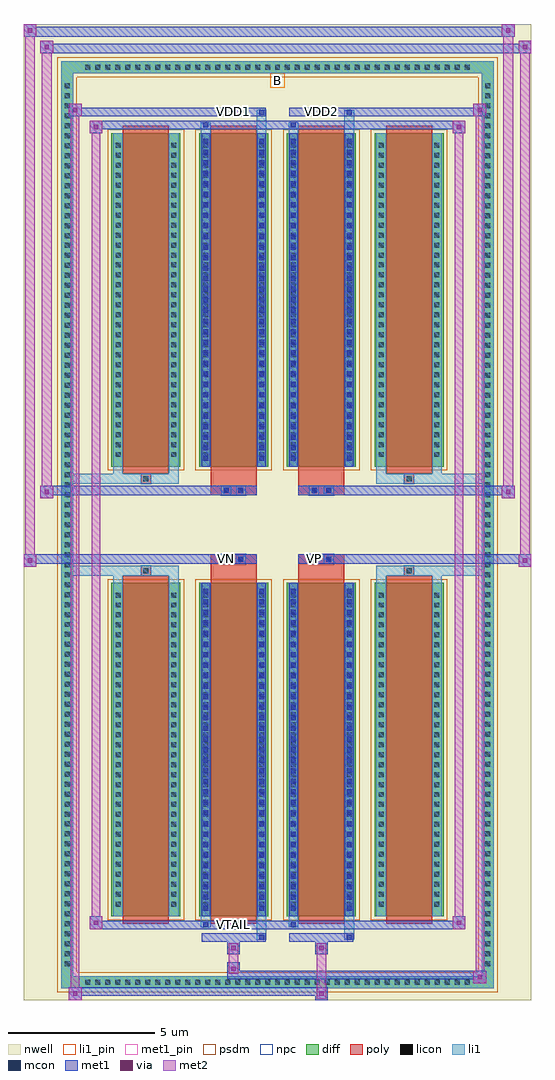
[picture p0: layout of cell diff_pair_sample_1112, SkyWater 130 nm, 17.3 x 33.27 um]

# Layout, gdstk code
import gdstk
lib = gdstk.Library(unit=1e-6, precision=5e-09)
def R(c, l, rs):  # rectangles x0, y0, x1, y1
    for r in rs: c.add(gdstk.rectangle(r[:2], r[2:], *l))
def A(c, l, x, y, w, h, nx, ny, dx, dy):  # array of equal rectangles
    R(c, l, [(x+i*dx, y+j*dy, x+i*dx+w, y+j*dy+h) for i in range(nx) for j in range(ny)])
def P(c, l, *ps):  # polygons
    for p in ps: c.add(gdstk.Polygon(p, *l))
nwell = (64, 20)
diff = (65, 20)
poly = (66, 20)
licon = (66, 44)
li1_pin = (67, 16)
li1 = (67, 20)
mcon = (67, 44)
met1_pin = (68, 16)
met1 = (68, 20)
via = (68, 44)
met2 = (69, 20)
psdm = (94, 20)
npc = (95, 20)

diff_pair_sample_1112 = lib.new_cell('diff_pair_sample_1112')
R(diff_pair_sample_1112, nwell, [(-8.65,-16.2,8.65,17.07), (-5.97,-14.39,-0.01,-0.805), (0.01,-14.39,5.97,-0.805), (-5.97,0.805,-0.01,14.39), (0.01,0.805,5.97,14.39)])
A(diff_pair_sample_1112, diff, -6.665, -15.8, 0.41, 0.41, 39, 2, 0.34, 31.19)
A(diff_pair_sample_1112, diff, -7.38, -15.165, 0.41, 0.41, 1, 89, 0, 0.34)
A(diff_pair_sample_1112, diff, 6.97, -15.165, 0.41, 0.41, 1, 89, 0, 0.34)
A(diff_pair_sample_1112, diff, -5.66, -13.345, 2.35, 11.36, 4, 2, 2.99, 15.33)
R(diff_pair_sample_1112, diff, [(-6.665,-15.8,6.665,-15.39), (-7.38,-15.165,-6.97,15.165), (6.97,-15.165,7.38,15.165), (-6.665,15.39,6.665,15.8)])
P(diff_pair_sample_1112, diff, [(7.38,15.8),(-7.38,15.8),(-7.38,-15.39),(-6.97,-15.39),(-6.97,15.39),(6.97,15.39),(6.97,-15.39),(-6.97,-15.39),(-7.38,-15.39),(-7.38,-15.8),(7.38,-15.8)])
A(diff_pair_sample_1112, poly, -5.27, -13.595, 1.57, 11.86, 4, 2, 2.99, 15.33)
R(diff_pair_sample_1112, poly, [(-4.65,-1.735,-4.32,-1.405), (-4.65,-1.735,-4.32,-1.405), (-2.28,-1.735,-0.71,-1.335), (0.71,-1.735,2.28,-1.335), (4.32,-1.735,4.65,-1.405), (4.32,-1.735,4.65,-1.405), (-2.28,-1.335,-0.71,-1.005), (-1.91,-1.335,-1.58,-1.005), (-1.41,-1.335,-1.08,-1.005), (0.71,-1.335,2.28,-1.005), (1.08,-1.335,1.41,-1.005), (1.58,-1.335,1.91,-1.005), (-2.28,1.005,-0.71,1.335), (-1.91,1.005,-1.58,1.335), (-1.41,1.005,-1.08,1.335), (0.71,1.005,2.28,1.335), (1.08,1.005,1.41,1.335), (1.58,1.005,1.91,1.335), (-2.28,1.335,-0.71,1.735), (0.71,1.335,2.28,1.735), (-4.65,1.405,-4.32,1.735), (-4.65,1.405,-4.32,1.735), (4.32,1.405,4.65,1.735), (4.32,1.405,4.65,1.735)])
A(diff_pair_sample_1112, licon, -6.545, -15.68, 0.17, 0.17, 39, 2, 0.34, 31.19)
A(diff_pair_sample_1112, licon, -7.26, -15.045, 0.17, 0.17, 1, 89, 0, 0.34)
A(diff_pair_sample_1112, licon, 7.09, -15.045, 0.17, 0.17, 1, 89, 0, 0.34)
A(diff_pair_sample_1112, licon, -5.52, -13.02, 0.17, 0.17, 1, 32, 0, 0.34)
A(diff_pair_sample_1112, licon, -3.62, -13.02, 0.17, 0.17, 1, 32, 0, 0.34)
A(diff_pair_sample_1112, licon, -2.53, -13.02, 0.17, 0.17, 1, 32, 0, 0.34)
A(diff_pair_sample_1112, licon, -0.63, -13.02, 0.17, 0.17, 1, 32, 0, 0.34)
A(diff_pair_sample_1112, licon, 0.46, -13.02, 0.17, 0.17, 1, 32, 0, 0.34)
A(diff_pair_sample_1112, licon, 2.36, -13.02, 0.17, 0.17, 1, 32, 0, 0.34)
A(diff_pair_sample_1112, licon, 3.45, -13.02, 0.17, 0.17, 1, 32, 0, 0.34)
A(diff_pair_sample_1112, licon, 5.35, -13.02, 0.17, 0.17, 1, 32, 0, 0.34)
A(diff_pair_sample_1112, licon, -5.52, 2.31, 0.17, 0.17, 1, 32, 0, 0.34)
A(diff_pair_sample_1112, licon, -3.62, 2.31, 0.17, 0.17, 1, 32, 0, 0.34)
A(diff_pair_sample_1112, licon, -2.53, 2.31, 0.17, 0.17, 1, 32, 0, 0.34)
A(diff_pair_sample_1112, licon, -0.63, 2.31, 0.17, 0.17, 1, 32, 0, 0.34)
A(diff_pair_sample_1112, licon, 0.46, 2.31, 0.17, 0.17, 1, 32, 0, 0.34)
A(diff_pair_sample_1112, licon, 2.36, 2.31, 0.17, 0.17, 1, 32, 0, 0.34)
A(diff_pair_sample_1112, licon, 3.45, 2.31, 0.17, 0.17, 1, 32, 0, 0.34)
A(diff_pair_sample_1112, licon, 5.35, 2.31, 0.17, 0.17, 1, 32, 0, 0.34)
R(diff_pair_sample_1112, licon, [(-4.57,-1.655,-4.4,-1.485), (4.4,-1.655,4.57,-1.485), (-1.83,-1.255,-1.66,-1.085), (-1.33,-1.255,-1.16,-1.085), (1.16,-1.255,1.33,-1.085), (1.66,-1.255,1.83,-1.085), (-1.83,1.085,-1.66,1.255), (-1.33,1.085,-1.16,1.255), (1.16,1.085,1.33,1.255), (1.66,1.085,1.83,1.255), (-4.57,1.485,-4.4,1.655), (4.4,1.485,4.57,1.655)])
R(diff_pair_sample_1112, li1_pin, [(-0.25,14.89,0.25,15.39)])
A(diff_pair_sample_1112, li1, -6.625, -15.76, 0.33, 0.33, 39, 2, 0.34, 31.19)
A(diff_pair_sample_1112, li1, -7.34, -15.125, 0.33, 0.33, 1, 89, 0, 0.34)
A(diff_pair_sample_1112, li1, 7.01, -15.125, 0.33, 0.33, 1, 89, 0, 0.34)
A(diff_pair_sample_1112, li1, -2.53, -13.15, 0.17, 0.17, 1, 31, 0, 0.36)
A(diff_pair_sample_1112, li1, -0.63, -13.15, 0.17, 0.17, 1, 31, 0, 0.36)
A(diff_pair_sample_1112, li1, 0.46, -13.15, 0.17, 0.17, 1, 31, 0, 0.36)
A(diff_pair_sample_1112, li1, 2.36, -13.15, 0.17, 0.17, 1, 31, 0, 0.36)
A(diff_pair_sample_1112, li1, -5.6, -13.1, 0.33, 0.33, 1, 32, 0, 0.34)
A(diff_pair_sample_1112, li1, -3.7, -13.1, 0.33, 0.33, 1, 32, 0, 0.34)
A(diff_pair_sample_1112, li1, -2.61, -13.1, 0.33, 0.33, 1, 32, 0, 0.34)
A(diff_pair_sample_1112, li1, -0.71, -13.1, 0.33, 0.33, 1, 32, 0, 0.34)
A(diff_pair_sample_1112, li1, 0.38, -13.1, 0.33, 0.33, 1, 32, 0, 0.34)
A(diff_pair_sample_1112, li1, 2.28, -13.1, 0.33, 0.33, 1, 32, 0, 0.34)
A(diff_pair_sample_1112, li1, 3.37, -13.1, 0.33, 0.33, 1, 32, 0, 0.34)
A(diff_pair_sample_1112, li1, 5.27, -13.1, 0.33, 0.33, 1, 32, 0, 0.34)
A(diff_pair_sample_1112, li1, -2.53, 2.18, 0.17, 0.17, 1, 31, 0, 0.36)
A(diff_pair_sample_1112, li1, -0.63, 2.18, 0.17, 0.17, 1, 31, 0, 0.36)
A(diff_pair_sample_1112, li1, 0.46, 2.18, 0.17, 0.17, 1, 31, 0, 0.36)
A(diff_pair_sample_1112, li1, 2.36, 2.18, 0.17, 0.17, 1, 31, 0, 0.36)
A(diff_pair_sample_1112, li1, -5.6, 2.23, 0.33, 0.33, 1, 32, 0, 0.34)
A(diff_pair_sample_1112, li1, -3.7, 2.23, 0.33, 0.33, 1, 32, 0, 0.34)
A(diff_pair_sample_1112, li1, -2.61, 2.23, 0.33, 0.33, 1, 32, 0, 0.34)
A(diff_pair_sample_1112, li1, -0.71, 2.23, 0.33, 0.33, 1, 32, 0, 0.34)
A(diff_pair_sample_1112, li1, 0.38, 2.23, 0.33, 0.33, 1, 32, 0, 0.34)
A(diff_pair_sample_1112, li1, 2.28, 2.23, 0.33, 0.33, 1, 32, 0, 0.34)
A(diff_pair_sample_1112, li1, 3.37, 2.23, 0.33, 0.33, 1, 32, 0, 0.34)
A(diff_pair_sample_1112, li1, 5.27, 2.23, 0.33, 0.33, 1, 32, 0, 0.34)
R(diff_pair_sample_1112, li1, [(-7.38,-15.8,-6.97,-15.39), (-7.38,-15.8,-6.97,-15.39), (-6.97,-15.8,6.97,-15.39), (6.97,-15.8,7.38,-15.39), (6.97,-15.8,7.38,-15.39), (-7.38,-15.39,-6.97,15.39), (6.97,-15.39,7.38,15.39), (-0.71,-14.15,-0.38,-13.345), (-0.63,-14.15,-0.46,-13.98), (2.28,-14.15,2.61,-13.345), (2.36,-14.15,2.53,-13.98), (-2.61,-13.72,-2.28,-13.345), (-2.53,-13.72,-2.36,-13.55), (0.38,-13.72,0.71,-13.345), (0.46,-13.72,0.63,-13.55), (-5.6,-13.345,-5.27,-1.985), (-3.7,-13.345,-3.37,-1.985), (-2.61,-13.345,-2.28,-1.985), (-0.71,-13.345,-0.38,-1.985), (0.38,-13.345,0.71,-1.985), (2.28,-13.345,2.61,-1.985), (3.37,-13.345,3.7,-1.985), (5.27,-13.345,5.6,-1.985), (-2.53,-13.15,-2.36,-2.18), (-0.63,-13.15,-0.46,-2.18), (0.46,-13.15,0.63,-2.18), (2.36,-13.15,2.53,-2.18), (-5.6,-1.985,-5.27,-1.405), (-3.7,-1.985,-3.37,-1.405), (3.37,-1.985,3.7,-1.405), (5.27,-1.985,5.6,-1.405), (-7.38,-1.735,-4.65,-1.405), (-5.6,-1.735,-4.65,-1.405), (-4.65,-1.735,-4.32,-1.405), (-4.32,-1.735,-3.37,-1.405), (3.37,-1.735,4.32,-1.405), (4.32,-1.735,4.65,-1.405), (4.32,-1.735,7.38,-1.405), (4.65,-1.735,5.6,-1.405), (-1.91,-1.335,-1.58,-1.005), (-1.41,-1.335,-1.08,-1.005), (1.08,-1.335,1.41,-1.005), (1.58,-1.335,1.91,-1.005), (-1.91,1.005,-1.58,1.335), (-1.41,1.005,-1.08,1.335), (1.08,1.005,1.41,1.335), (1.58,1.005,1.91,1.335), (-7.38,1.405,-4.65,1.735), (-5.6,1.405,-4.65,1.735), (-5.6,1.405,-5.27,1.985), (-4.65,1.405,-4.32,1.735), (-4.32,1.405,-3.37,1.735), (-3.7,1.405,-3.37,1.985), (3.37,1.405,4.32,1.735), (3.37,1.405,3.7,1.985), (4.32,1.405,4.65,1.735), (4.32,1.405,7.38,1.735), (4.65,1.405,5.6,1.735), (5.27,1.405,5.6,1.985), (-5.6,1.985,-5.27,13.345), (-3.7,1.985,-3.37,13.345), (-2.61,1.985,-2.28,13.345), (-0.71,1.985,-0.38,13.345), (0.38,1.985,0.71,13.345), (2.28,1.985,2.61,13.345), (3.37,1.985,3.7,13.345), (5.27,1.985,5.6,13.345), (-2.53,2.18,-2.36,13.15), (-0.63,2.18,-0.46,13.15), (0.46,2.18,0.63,13.15), (2.36,2.18,2.53,13.15), (-2.61,13.345,-2.28,13.72), (-0.71,13.345,-0.38,14.15), (0.38,13.345,0.71,13.72), (2.28,13.345,2.61,14.15), (-2.53,13.55,-2.36,13.72), (0.46,13.55,0.63,13.72), (-0.63,13.98,-0.46,14.15), (2.36,13.98,2.53,14.15), (-7.38,15.39,-6.97,15.8), (-7.38,15.39,-6.97,15.8), (-6.97,15.39,6.97,15.8), (6.97,15.39,7.38,15.8), (6.97,15.39,7.38,15.8)])
A(diff_pair_sample_1112, mcon, -2.53, -13.15, 0.17, 0.17, 1, 31, 0, 0.36)
A(diff_pair_sample_1112, mcon, -0.63, -13.15, 0.17, 0.17, 1, 31, 0, 0.36)
A(diff_pair_sample_1112, mcon, 0.46, -13.15, 0.17, 0.17, 1, 31, 0, 0.36)
A(diff_pair_sample_1112, mcon, 2.36, -13.15, 0.17, 0.17, 1, 31, 0, 0.36)
A(diff_pair_sample_1112, mcon, -2.53, 2.18, 0.17, 0.17, 1, 31, 0, 0.36)
A(diff_pair_sample_1112, mcon, -0.63, 2.18, 0.17, 0.17, 1, 31, 0, 0.36)
A(diff_pair_sample_1112, mcon, 0.46, 2.18, 0.17, 0.17, 1, 31, 0, 0.36)
A(diff_pair_sample_1112, mcon, 2.36, 2.18, 0.17, 0.17, 1, 31, 0, 0.36)
R(diff_pair_sample_1112, mcon, [(-0.63,-14.15,-0.46,-13.98), (2.36,-14.15,2.53,-13.98), (-2.53,-13.72,-2.36,-13.55), (0.46,-13.72,0.63,-13.55), (-1.83,-1.255,-1.66,-1.085), (-1.33,-1.255,-1.16,-1.085), (1.16,-1.255,1.33,-1.085), (1.66,-1.255,1.83,-1.085), (-1.83,1.085,-1.66,1.255), (-1.33,1.085,-1.16,1.255), (1.16,1.085,1.33,1.255), (1.66,1.085,1.83,1.255), (-2.53,13.55,-2.36,13.72), (0.46,13.55,0.63,13.72), (-0.63,13.98,-0.46,14.15), (2.36,13.98,2.53,14.15)])
R(diff_pair_sample_1112, met1_pin, [(-1.63,-13.76,-1.36,-13.49), (-1.88,-1.295,-1.61,-1.025), (1.11,-1.295,1.38,-1.025), (-1.63,13.94,-1.36,14.21), (1.36,13.94,1.63,14.21)])
A(diff_pair_sample_1112, met1, -2.59, -13.21, 0.29, 0.29, 1, 31, 0, 0.36)
A(diff_pair_sample_1112, met1, -0.69, -13.21, 0.29, 0.29, 1, 31, 0, 0.36)
A(diff_pair_sample_1112, met1, 0.4, -13.21, 0.29, 0.29, 1, 31, 0, 0.36)
A(diff_pair_sample_1112, met1, 2.3, -13.21, 0.29, 0.29, 1, 31, 0, 0.36)
A(diff_pair_sample_1112, met1, -2.59, 2.12, 0.29, 0.29, 1, 31, 0, 0.36)
A(diff_pair_sample_1112, met1, -0.69, 2.12, 0.29, 0.29, 1, 31, 0, 0.36)
A(diff_pair_sample_1112, met1, 0.4, 2.12, 0.29, 0.29, 1, 31, 0, 0.36)
A(diff_pair_sample_1112, met1, 2.3, 2.12, 0.29, 0.29, 1, 31, 0, 0.36)
R(diff_pair_sample_1112, met1, [(-7.11,-16.2,-6.68,-15.77), (1.28,-16.2,1.71,-15.77), (-7.11,-16.06,1.71,-15.77), (6.68,-15.63,7.11,-15.2), (-1.71,-15.49,7.11,-15.2), (-1.71,-15.35,-1.28,-14.92), (-1.71,-14.64,-1.28,-14.21), (1.28,-14.64,1.71,-14.21), (-2.59,-14.21,-0.4,-13.92), (-0.69,-14.21,-0.4,-13.92), (0.4,-14.21,2.59,-13.92), (2.3,-14.21,2.59,-13.92), (-6.4,-13.78,-5.97,-13.35), (-6.4,-13.78,-2.59,-13.49), (-2.59,-13.78,-2.3,-13.49), (-2.59,-13.78,-0.4,-13.49), (-0.4,-13.78,0.4,-13.49), (0.4,-13.78,0.69,-13.49), (0.4,-13.78,2.59,-13.49), (2.59,-13.78,6.4,-13.49), (5.97,-13.78,6.4,-13.35), (-2.59,-13.345,-2.3,-1.985), (-0.69,-13.345,-0.4,-1.985), (0.4,-13.345,0.69,-1.985), (2.3,-13.345,2.59,-1.985), (-8.65,-1.435,-8.22,-1.005), (8.22,-1.435,8.65,-1.005), (-8.65,-1.335,-0.71,-1.005), (-2.28,-1.335,-0.71,-1.005), (0.71,-1.335,2.28,-1.005), (0.71,-1.335,8.65,-1.005), (-1.89,-1.315,-1.6,-1.025), (-1.39,-1.315,-1.1,-1.025), (1.1,-1.315,1.39,-1.025), (1.6,-1.315,1.89,-1.025), (-8.08,0.905,-7.65,1.335), (7.65,0.905,8.08,1.335), (-8.08,1.005,-2.28,1.335), (-2.28,1.005,-0.71,1.335), (0.71,1.005,2.28,1.335), (2.28,1.005,8.08,1.335), (-1.89,1.025,-1.6,1.315), (-1.39,1.025,-1.1,1.315), (1.1,1.025,1.39,1.315), (1.6,1.025,1.89,1.315), (-2.59,1.985,-2.3,13.345), (-0.69,1.985,-0.4,13.345), (0.4,1.985,0.69,13.345), (2.3,1.985,2.59,13.345), (-6.4,13.35,-5.97,13.78), (5.97,13.35,6.4,13.78), (-6.4,13.49,-2.59,13.78), (-2.59,13.49,-2.3,13.78), (-2.59,13.49,-0.4,13.78), (-0.4,13.49,0.4,13.78), (0.4,13.49,0.69,13.78), (0.4,13.49,2.59,13.78), (2.59,13.49,6.4,13.78), (-7.11,13.92,-6.68,14.35), (-7.11,13.92,-2.59,14.21), (-2.59,13.92,-0.4,14.21), (-0.69,13.92,-0.4,14.21), (0.4,13.92,2.59,14.21), (2.3,13.92,2.59,14.21), (2.59,13.92,7.11,14.21), (6.68,13.92,7.11,14.35), (-8.08,16.07,-7.65,16.5), (-8.08,16.07,-5.97,16.4), (-5.97,16.07,5.97,16.4), (5.97,16.07,8.65,16.4), (8.22,16.07,8.65,16.5), (-8.65,16.64,-8.22,17.07), (-8.65,16.64,-5.97,16.97), (-5.97,16.64,5.97,16.97), (5.97,16.64,8.08,16.97), (7.65,16.64,8.08,17.07)])
R(diff_pair_sample_1112, via, [(-6.97,-16.06,-6.82,-15.91), (1.42,-16.06,1.57,-15.91), (6.82,-15.49,6.97,-15.34), (-1.57,-15.21,-1.42,-15.06), (-1.57,-14.5,-1.42,-14.35), (1.42,-14.5,1.57,-14.35), (-6.26,-13.64,-6.11,-13.49), (6.11,-13.64,6.26,-13.49), (-8.51,-1.295,-8.36,-1.145), (8.36,-1.295,8.51,-1.145), (-7.94,1.045,-7.79,1.195), (7.79,1.045,7.94,1.195), (-6.26,13.49,-6.11,13.64), (6.11,13.49,6.26,13.64), (-6.97,14.06,-6.82,14.21), (6.82,14.06,6.97,14.21), (-7.94,16.21,-7.79,16.36), (8.36,16.21,8.51,16.36), (-8.51,16.78,-8.36,16.93), (7.79,16.78,7.94,16.93)])
R(diff_pair_sample_1112, met2, [(-7.11,-16.2,-6.68,-15.77), (-7.04,-16.2,-6.75,14.35), (-6.75,-16.2,-6.68,-15.77), (-7.06,-16.15,-6.73,-15.82), (1.33,-16.15,1.66,-15.82), (1.33,-15.82,1.66,-14.59), (6.68,-15.63,7.11,-15.2), (6.75,-15.63,7.04,14.35), (7.04,-15.63,7.11,-15.2), (6.73,-15.58,7.06,-15.25), (-1.66,-15.3,-1.33,-14.97), (-1.66,-14.97,-1.33,-14.59), (-1.66,-14.59,-1.33,-14.26), (1.33,-14.59,1.66,-14.26), (-6.4,-13.78,-5.97,-13.35), (-6.33,-13.78,-6.04,13.78), (-6.04,-13.78,-5.97,-13.35), (5.97,-13.78,6.4,-13.35), (6.04,-13.78,6.33,13.78), (6.33,-13.78,6.4,-13.35), (-6.35,-13.73,-6.02,-13.4), (6.02,-13.73,6.35,-13.4), (-8.65,-1.435,-8.22,-1.005), (-8.6,-1.435,-8.27,17.07), (-8.27,-1.435,-8.22,-1.005), (8.22,-1.435,8.65,-1.005), (8.27,-1.435,8.6,16.5), (8.6,-1.435,8.65,-1.005), (-8.6,-1.385,-8.27,-1.055), (8.27,-1.385,8.6,-1.055), (-8.08,0.905,-7.65,1.335), (-8.03,0.905,-7.7,16.5), (-7.7,0.905,-7.65,1.335), (7.65,0.905,8.08,1.335), (7.7,0.905,8.03,17.07), (8.03,0.905,8.08,1.335), (-8.03,0.955,-7.7,1.285), (7.7,0.955,8.03,1.285), (-6.4,13.35,-5.97,13.78), (-6.04,13.35,-5.97,13.78), (5.97,13.35,6.4,13.78), (6.33,13.35,6.4,13.78), (-6.35,13.4,-6.02,13.73), (6.02,13.4,6.35,13.73), (-7.11,13.92,-6.68,14.35), (-6.75,13.92,-6.68,14.35), (6.68,13.92,7.11,14.35), (7.04,13.92,7.11,14.35), (-7.06,13.97,-6.73,14.3), (6.73,13.97,7.06,14.3), (-8.08,16.07,-7.65,16.5), (-7.7,16.07,-7.65,16.5), (8.22,16.07,8.65,16.5), (8.6,16.07,8.65,16.5), (-8.03,16.12,-7.7,16.45), (8.27,16.12,8.6,16.45), (-8.65,16.64,-8.22,17.07), (-8.27,16.64,-8.22,17.07), (7.65,16.64,8.08,17.07), (8.03,16.64,8.08,17.07), (-8.6,16.69,-8.27,17.02), (7.7,16.69,8.03,17.02)])
A(diff_pair_sample_1112, psdm, -5.79, -13.475, 2.61, 11.62, 4, 2, 2.99, 15.33)
P(diff_pair_sample_1112, psdm, [(7.51,15.93),(-7.51,15.93),(-7.51,-15.26),(-6.84,-15.26),(-6.84,15.26),(6.84,15.26),(6.84,-15.26),(-6.84,-15.26),(-7.51,-15.26),(-7.51,-15.93),(7.51,-15.93)])
R(diff_pair_sample_1112, npc, [(-4.67,-1.755,-4.3,-1.385), (4.3,-1.755,4.67,-1.385), (-1.93,-1.355,-1.56,-0.985), (-1.93,-1.355,-1.06,-0.985), (-1.93,-1.355,-1.06,-0.985), (-1.43,-1.355,-1.06,-0.985), (1.06,-1.355,1.43,-0.985), (1.06,-1.355,1.93,-0.985), (1.06,-1.355,1.93,-0.985), (1.56,-1.355,1.93,-0.985), (-1.93,0.985,-1.56,1.355), (-1.93,0.985,-1.06,1.355), (-1.93,0.985,-1.06,1.355), (-1.43,0.985,-1.06,1.355), (1.06,0.985,1.43,1.355), (1.06,0.985,1.93,1.355), (1.06,0.985,1.93,1.355), (1.56,0.985,1.93,1.355), (-4.67,1.385,-4.3,1.755), (4.3,1.385,4.67,1.755)])
diff_pair_sample_1112.add(gdstk.Label('VTAIL', (-1.495,-13.625), layer=68, texttype=5))
diff_pair_sample_1112.add(gdstk.Label('VN', (-1.745,-1.16), layer=68, texttype=5))
diff_pair_sample_1112.add(gdstk.Label('VP', (1.245,-1.16), layer=68, texttype=5))
diff_pair_sample_1112.add(gdstk.Label('B', (0,15.14), layer=67, texttype=5))
diff_pair_sample_1112.add(gdstk.Label('VDD2', (1.495,14.075), layer=68, texttype=5))
diff_pair_sample_1112.add(gdstk.Label('VDD1', (-1.495,14.075), layer=68, texttype=5))

lib.write_gds('diff_pair_sample_1112.gds')
